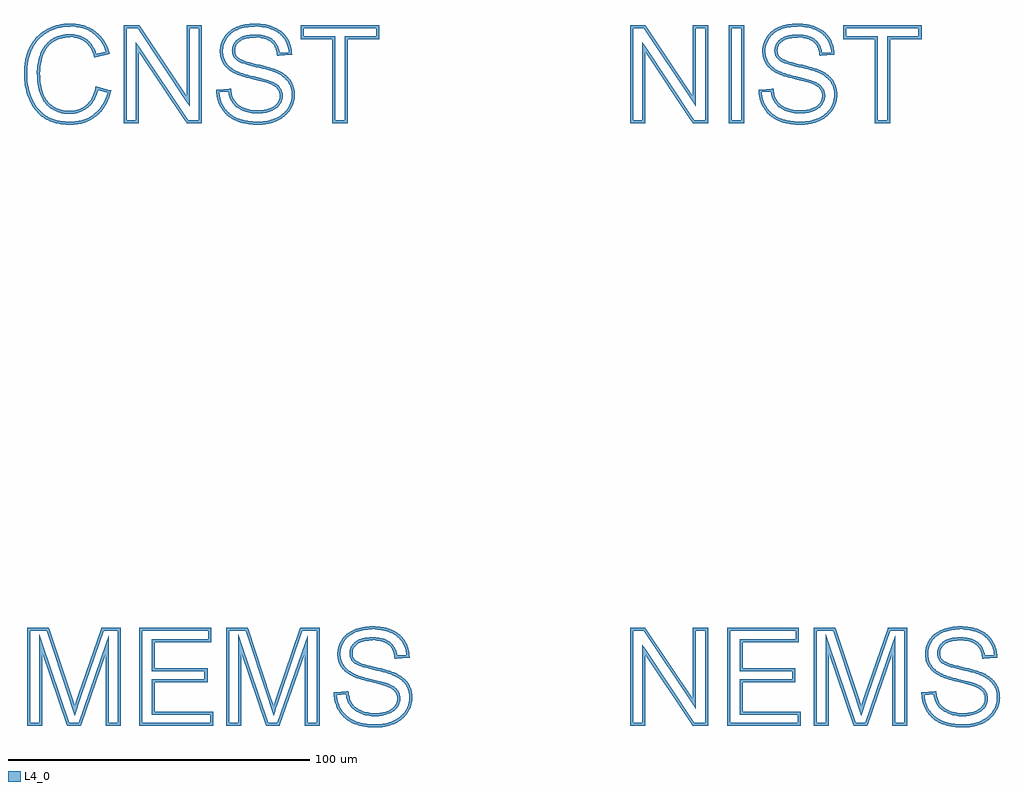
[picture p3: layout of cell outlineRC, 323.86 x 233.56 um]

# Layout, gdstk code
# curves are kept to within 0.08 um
import gdstk
lib = gdstk.Library(unit=1e-6, precision=1e-09)
def P(c, l, *ps):  # polygons
    for p in ps: c.add(gdstk.Polygon(p, *l))
L4_0 = (4, 0)

outlinerc = lib.new_cell('outlineRC')
P(outlinerc, L4_0, [(22,-6.031),(18.912,-5.821),(17.239,-5.493),(15.749,-5.031),(23.732,-4.94),(25.873,-4.536),(28.287,-3.576),(30.391,-2.128),(32.086,-0.296),(33.428,1.955),(34.417,4.625),(31.246,5.436),(30.337,2.853),(29.727,1.749),(28.755,0.473),(27.905,-0.338),(26.903,-1.062),(25.822,-1.636),(24.664,-2.06),(22.559,-2.435),(20.536,-2.414),(18.388,-1.976),(16.364,-1.101),(14.54,0.224),(13.311,1.669),(12.35,3.423),(11.555,5.836),(11.102,8.532),(11,11.799),(11.382,14.931),(12.003,17.215),(12.621,18.678),(13.428,19.985),(14.159,20.864),(15.3,21.899),(16.621,22.757),(17.712,23.251),(19.301,23.71),(21.041,23.94),(22.782,23.942),(24.306,23.733),(25.692,23.316),(27.23,22.5),(28.257,21.652),(29.147,20.607),(30.095,19.003),(30.72,17.482),(33.865,18.223),(32.922,20.458),(32.2,21.642),(31.363,22.708),(30.065,23.947),(28.913,24.765),(27.634,25.441),(25.77,26.09),(23.723,26.45),(22.068,26.531),(20.568,26.467),(18.654,26.18),(16.826,25.663),(15.084,24.917),(13.465,23.95),(12.375,23.086),(11.392,22.103),(10.248,20.605),(9.294,18.893),(8.715,17.486),(8.144,15.474),(7.802,13.307),(7.688,10.984),(7.789,8.813),(8.094,6.714),(8.601,4.688),(9.312,2.734),(10.205,0.952),(10.995,-0.236),(12.209,-1.624),(13.605,-2.786),(14.78,-3.508),(16.085,-4.091),(18.029,-4.65),(19.641,-4.907),(22.005,-5.031),(15.749,-5.031),(13.439,-3.88),(12.249,-3.005),(11.171,-1.995),(10.206,-0.851),(9.353,0.429),(8.613,1.843),(7.812,3.874),(7.353,5.445),(6.927,7.605),(6.688,10.984),(6.96,14.587),(7.778,17.833),(8.391,19.322),(9.14,20.72),(10.007,21.995),(10.991,23.142),(12.091,24.16),(13.307,25.05),(16.017,26.429),(18.939,27.255),(22.063,27.531),(24.409,27.374),(26.566,26.904),(28.532,26.121),(30.307,25.026),(31.859,23.646),(33.155,22.015),(34.196,20.133),(35.127,17.494),(30.055,16.298),(29.002,18.949),(27.833,20.649),(27.151,21.308),(26.142,21.999),(25.302,22.395),(24.068,22.762),(21.974,22.969),(19.914,22.808),(18.089,22.325),(16.197,21.32),(14.659,19.925),(13.505,18.213),(12.724,16.178),(12.12,13.255),(12.002,10.035),(12.269,7.333),(12.984,4.541),(13.934,2.543),(14.534,1.699),(15.469,0.732),(16.555,-0.056),(17.754,-0.674),(19.004,-1.116),(20.304,-1.38),(22.869,-1.402),(24.367,-1.105),(25.736,-0.57),(26.679,-0.014),(27.818,0.938),(28.783,2.129),(29.563,3.559),(30.026,4.789),(30.496,6.66),(35.639,5.345),(34.931,2.965),(33.914,0.71),(32.624,-1.234),(31.064,-2.868),(28.766,-4.454),(26.706,-5.33),(24.45,-5.855)],
  [(40.359,-5.5),(39.859,-5.5),(39.859,27),(44.892,27),(60.672,3.412),(60.672,27),(65.672,27),(65.672,-5.5),(60.623,-5.5),(59.955,-4.5),(64.672,-4.5),(64.672,26),(61.672,26),(61.672,0.117),(44.358,26),(40.859,26),(40.859,-4.5),(43.844,-4.5),(43.844,21.398),(61.158,-4.5),(59.955,-4.5),(44.844,18.103),(44.844,-5.5)],
  [(84.406,-6.031),(80.838,-5.786),(77.757,-5.031),(84.408,-5.031),(86.762,-4.864),(89.271,-4.246),(90.584,-3.692),(91.753,-3.019),(93.002,-2.015),(93.832,-1.082),(94.508,-0.044),(95.118,1.313),(95.415,2.438),(95.547,3.891),(95.428,5.33),(95.159,6.399),(94.469,7.866),(93.413,9.176),(92.234,10.139),(90.461,11.14),(87.824,12.052),(80.237,13.998),(78.61,14.588),(77.472,15.178),(76.617,15.964),(75.97,17.087),(75.709,18.403),(75.825,19.695),(76.184,20.668),(76.782,21.558),(77.617,22.367),(78.68,23.019),(80.004,23.485),(81.169,23.713),(82.951,23.853),(84.8,23.801),(86.036,23.629),(87.486,23.219),(88.426,22.779),(89.466,22.027),(90.263,21.141),(90.745,20.369),(91.232,19.197),(91.543,17.862),(94.58,18.087),(94.121,20.313),(93.437,21.833),(92.393,23.283),(91.247,24.321),(90.162,25.011),(88.925,25.577),(87.198,26.107),(85.701,26.379),(84.104,26.514),(81.763,26.467),(79.644,26.128),(78.318,25.74),(77.086,25.231),(76.006,24.609),(75.075,23.869),(74.293,23.012),(73.66,22.047),(73.089,20.778),(72.811,19.725),(72.688,18.359),(72.943,16.431),(73.712,14.704),(75.021,13.195),(76.369,12.232),(77.349,11.717),(79.217,11.017),(88.526,8.466),(90.334,7.562),(91.313,6.745),(91.793,6.129),(92.289,5.099),(92.516,3.954),(92.516,3.147),(92.392,2.371),(91.977,1.265),(90.995,-0.073),(90.321,-0.64),(89.079,-1.351),(87.611,-1.878),(86.549,-2.111),(83.529,-2.282),(80.943,-1.914),(78.631,-1.059),(77.196,-0.164),(76.423,0.531),(75.797,1.305),(75.15,2.495),(74.475,4.929),(71.505,4.669),(71.901,2.379),(72.626,0.579),(73.748,-1.116),(75.252,-2.566),(77.093,-3.677),(79.314,-4.463),(81.929,-4.914),(84.408,-5.031),(77.757,-5.031),(76.3,-4.402),(74.949,-3.585),(73.761,-2.601),(72.736,-1.451),(71.881,-0.146),(71.226,1.252),(70.776,2.733),(70.531,4.299),(70.472,5.582),(75.346,6.009),(75.579,4.454),(76.005,3.041),(76.625,1.867),(77.163,1.204),(78.222,0.33),(79.583,-0.401),(81.196,-0.947),(82.355,-1.171),(85.326,-1.255),(87.797,-0.779),(89.71,0.151),(90.521,0.881),(91.084,1.716),(91.482,2.913),(91.426,4.484),(90.954,5.585),(90.047,6.541),(89.018,7.164),(87.805,7.663),(79.679,9.829),(76.422,11.058),(74.805,12.082),(73.717,13.066),(72.866,14.171),(72.148,15.638),(71.706,17.787),(71.828,19.905),(72.494,21.964),(73.705,23.875),(75.151,25.228),(76.964,26.278),(79.403,27.098),(81.666,27.462),(84.153,27.513),(87.054,27.163),(89.639,26.367),(91.571,25.319),(93.139,23.95),(94.337,22.273),(95.241,20.072),(95.589,18.005),(95.628,17.162),(90.666,16.794),(90.188,19.165),(89.686,20.209),(89.009,21.079),(88.149,21.78),(87.363,22.193),(86.456,22.507),(85.058,22.771),(82.149,22.815),(79.715,22.362),(78.908,22.019),(78.055,21.431),(77.428,20.77),(76.995,20.049),(76.726,19.062),(76.768,17.933),(77.113,16.999),(77.909,16.089),(79.127,15.444),(80.641,14.913),(88.144,12.999),(90.344,12.274),(91.575,11.702),(93.386,10.53),(94.575,9.4),(95.476,8.129),(96.197,6.432),(96.459,5.201),(96.547,3.891),(96.256,1.622),(95.385,-0.525),(93.953,-2.476),(92.017,-4.038),(89.613,-5.186),(87.323,-5.786)],
  [(109.406,-5.5),(108.906,-5.5),(108.906,-4.5),(113.078,-4.5),(113.078,23.281),(123.5,23.281),(123.5,26),(99.531,26),(99.531,23.281),(109.906,23.281),(109.906,-4.5),(108.906,-4.5),(108.906,22.281),(98.531,22.281),(98.531,26.5),(98.531,27),(124.5,27),(124.5,22.781),(124.5,22.281),(114.078,22.281),(114.078,-5.5)],
  [(208.359,-5.5),(207.859,-5.5),(207.859,27),(212.892,27),(228.672,3.412),(228.672,27),(233.672,27),(233.672,-5.5),(228.623,-5.5),(227.955,-4.5),(232.672,-4.5),(232.672,26),(229.672,26),(229.672,0.117),(212.358,26),(208.859,26),(208.859,-4.5),(211.844,-4.5),(211.844,21.398),(229.158,-4.5),(227.955,-4.5),(212.844,18.103),(212.844,-5.5)],
  [(241.109,-5.5),(240.609,-5.5),(240.609,-4.5),(244.766,-4.5),(244.766,26),(241.609,26),(241.609,-4.5),(240.609,-4.5),(240.609,27),(245.766,27),(245.766,-5),(245.766,-5.5)],
  [(264.406,-6.031),(260.838,-5.786),(257.757,-5.031),(264.408,-5.031),(266.762,-4.864),(269.271,-4.246),(270.584,-3.692),(271.753,-3.019),(273.002,-2.015),(273.832,-1.082),(274.508,-0.044),(275.118,1.313),(275.415,2.438),(275.547,3.891),(275.428,5.33),(275.159,6.399),(274.469,7.866),(273.413,9.176),(272.234,10.139),(270.461,11.14),(267.824,12.052),(260.237,13.998),(258.61,14.588),(257.472,15.178),(256.617,15.964),(255.97,17.087),(255.709,18.403),(255.825,19.695),(256.184,20.668),(256.782,21.558),(257.617,22.367),(258.68,23.019),(260.004,23.485),(261.169,23.713),(262.951,23.853),(264.8,23.801),(266.036,23.629),(267.486,23.219),(268.426,22.779),(269.465,22.027),(270.263,21.141),(270.745,20.369),(271.232,19.197),(271.543,17.862),(274.58,18.087),(274.121,20.313),(273.437,21.833),(272.393,23.283),(271.246,24.321),(270.162,25.011),(268.925,25.577),(267.198,26.107),(265.701,26.379),(264.104,26.514),(261.763,26.467),(259.644,26.128),(258.318,25.74),(257.086,25.231),(256.006,24.609),(255.075,23.869),(254.293,23.012),(253.66,22.047),(253.089,20.778),(252.811,19.725),(252.688,18.359),(252.943,16.431),(253.712,14.704),(255.021,13.195),(256.369,12.232),(257.349,11.717),(259.217,11.017),(268.526,8.466),(270.334,7.562),(271.313,6.745),(271.793,6.129),(272.289,5.099),(272.516,3.954),(272.516,3.147),(272.392,2.371),(271.977,1.265),(270.995,-0.073),(270.321,-0.64),(269.079,-1.351),(267.611,-1.878),(266.549,-2.111),(263.529,-2.282),(260.943,-1.914),(258.631,-1.059),(257.196,-0.164),(256.423,0.531),(255.797,1.305),(255.15,2.495),(254.475,4.929),(251.505,4.669),(251.901,2.379),(252.626,0.579),(253.748,-1.116),(255.252,-2.566),(257.093,-3.677),(259.314,-4.463),(261.929,-4.914),(264.408,-5.031),(257.757,-5.031),(256.3,-4.402),(254.949,-3.585),(253.761,-2.601),(252.736,-1.451),(251.881,-0.146),(251.226,1.252),(250.776,2.733),(250.531,4.299),(250.472,5.582),(255.346,6.009),(255.579,4.454),(256.005,3.041),(256.625,1.867),(257.163,1.204),(258.222,0.33),(259.583,-0.401),(261.196,-0.947),(262.355,-1.171),(265.326,-1.255),(267.797,-0.779),(269.71,0.151),(270.521,0.881),(271.084,1.716),(271.482,2.913),(271.426,4.484),(270.954,5.585),(270.047,6.541),(269.018,7.164),(267.805,7.663),(259.679,9.829),(256.422,11.058),(254.805,12.082),(253.717,13.066),(252.866,14.171),(252.148,15.638),(251.706,17.787),(251.828,19.905),(252.494,21.964),(253.705,23.875),(255.151,25.228),(256.964,26.278),(259.403,27.098),(261.666,27.462),(264.153,27.513),(267.054,27.163),(269.639,26.367),(271.571,25.319),(273.139,23.95),(274.337,22.273),(275.241,20.072),(275.589,18.005),(275.628,17.162),(270.666,16.794),(270.188,19.165),(269.686,20.209),(269.009,21.079),(268.149,21.78),(267.363,22.193),(266.456,22.507),(265.058,22.771),(262.15,22.815),(259.715,22.362),(258.908,22.019),(258.055,21.431),(257.428,20.77),(256.995,20.049),(256.726,19.062),(256.768,17.933),(257.113,16.999),(257.909,16.089),(259.127,15.444),(260.641,14.913),(268.144,12.999),(270.344,12.274),(271.575,11.702),(273.386,10.53),(274.575,9.4),(275.476,8.129),(276.197,6.432),(276.459,5.201),(276.547,3.891),(276.256,1.622),(275.385,-0.525),(273.953,-2.476),(272.017,-4.038),(269.613,-5.186),(267.323,-5.786)],
  [(289.406,-5.5),(288.906,-5.5),(288.906,-4.5),(293.078,-4.5),(293.078,23.281),(303.5,23.281),(303.5,26),(279.531,26),(279.531,23.281),(289.906,23.281),(289.906,-4.5),(288.906,-4.5),(288.906,22.281),(278.531,22.281),(278.531,26.5),(278.531,27),(304.5,27),(304.5,22.781),(304.5,22.281),(294.078,22.281),(294.078,-5.5)],
  [(8.266,-205.5),(7.766,-205.5),(7.766,-173),(14.907,-173),(23.505,-198.808),(32.362,-173),(38.828,-173),(38.828,-205.5),(33.813,-205.5),(33.813,-204.5),(37.828,-204.5),(37.828,-174),(33.075,-174),(25.645,-195.585),(23.495,-202.174),(21.525,-195.954),(14.187,-174),(8.766,-174),(8.766,-204.5),(11.781,-204.5),(11.781,-175.169),(21.749,-204.5),(24.801,-204.5),(34.813,-175.678),(34.813,-204.5),(33.813,-204.5),(33.813,-181.604),(25.512,-205.5),(21.033,-205.5),(12.781,-181.214),(12.781,-205.5)],
  [(45.484,-205.5),(44.984,-205.5),(44.984,-204.5),(68.484,-204.5),(68.484,-201.781),(49.156,-201.781),(49.156,-190.562),(49.156,-190.062),(66.578,-190.062),(66.578,-187.359),(49.156,-187.359),(49.156,-177.219),(49.156,-176.719),(67.75,-176.719),(67.75,-174),(45.984,-174),(45.984,-204.5),(44.984,-204.5),(44.984,-173),(68.75,-173),(68.75,-177.219),(68.75,-177.719),(50.156,-177.719),(50.156,-186.359),(67.578,-186.359),(67.578,-190.562),(67.578,-191.062),(50.156,-191.062),(50.156,-200.781),(69.484,-200.781),(69.484,-205),(69.484,-205.5)],
  [(74.266,-205.5),(73.766,-205.5),(73.766,-173),(80.907,-173),(89.505,-198.808),(98.362,-173),(104.828,-173),(104.828,-205.5),(99.813,-205.5),(99.813,-204.5),(103.828,-204.5),(103.828,-174),(99.075,-174),(91.645,-195.585),(89.495,-202.174),(87.525,-195.954),(80.187,-174),(74.766,-174),(74.766,-204.5),(77.781,-204.5),(77.781,-175.169),(87.749,-204.5),(90.801,-204.5),(100.813,-175.678),(100.813,-204.5),(99.813,-204.5),(99.813,-181.604),(91.512,-205.5),(87.033,-205.5),(78.781,-181.214),(78.781,-205.5)],
  [(123.406,-206.031),(119.838,-205.786),(116.757,-205.031),(123.408,-205.031),(125.762,-204.864),(128.271,-204.246),(129.584,-203.692),(130.753,-203.019),(132.002,-202.015),(132.832,-201.082),(133.508,-200.044),(134.118,-198.687),(134.415,-197.562),(134.547,-196.109),(134.428,-194.67),(134.159,-193.601),(133.469,-192.134),(132.413,-190.824),(131.234,-189.861),(129.461,-188.86),(126.824,-187.948),(119.237,-186.002),(117.61,-185.412),(116.472,-184.822),(115.617,-184.036),(114.97,-182.913),(114.709,-181.597),(114.825,-180.305),(115.184,-179.332),(115.782,-178.442),(116.617,-177.633),(117.68,-176.981),(119.004,-176.515),(120.169,-176.287),(121.951,-176.147),(123.8,-176.199),(125.036,-176.371),(126.486,-176.781),(127.426,-177.221),(128.466,-177.973),(129.263,-178.859),(129.745,-179.631),(130.232,-180.803),(130.543,-182.138),(133.58,-181.913),(133.121,-179.687),(132.437,-178.167),(131.393,-176.717),(130.246,-175.679),(129.162,-174.989),(127.925,-174.423),(126.198,-173.893),(124.701,-173.621),(123.104,-173.486),(120.763,-173.533),(118.644,-173.872),(117.318,-174.26),(116.086,-174.769),(115.006,-175.391),(114.075,-176.131),(113.293,-176.988),(112.66,-177.953),(112.089,-179.222),(111.811,-180.275),(111.688,-181.641),(111.943,-183.569),(112.712,-185.296),(114.021,-186.805),(115.369,-187.768),(116.349,-188.283),(118.217,-188.983),(127.526,-191.534),(129.334,-192.438),(130.313,-193.255),(130.793,-193.871),(131.289,-194.901),(131.516,-196.046),(131.516,-196.853),(131.392,-197.629),(130.977,-198.735),(129.995,-200.073),(129.321,-200.64),(128.079,-201.351),(126.611,-201.878),(125.549,-202.111),(122.529,-202.282),(119.943,-201.914),(117.631,-201.059),(116.196,-200.164),(115.423,-199.469),(114.797,-198.695),(114.15,-197.505),(113.475,-195.071),(110.505,-195.331),(110.901,-197.621),(111.626,-199.421),(112.748,-201.116),(114.252,-202.566),(116.093,-203.677),(118.314,-204.463),(120.929,-204.914),(123.408,-205.031),(116.757,-205.031),(115.3,-204.402),(113.949,-203.585),(112.761,-202.601),(111.736,-201.451),(110.881,-200.146),(110.226,-198.748),(109.776,-197.267),(109.531,-195.701),(109.472,-194.418),(114.346,-193.991),(114.579,-195.546),(115.005,-196.959),(115.625,-198.133),(116.163,-198.796),(117.222,-199.67),(118.583,-200.401),(120.196,-200.947),(121.355,-201.171),(124.326,-201.255),(126.797,-200.779),(128.71,-199.849),(129.521,-199.119),(130.084,-198.284),(130.482,-197.087),(130.426,-195.516),(129.954,-194.415),(129.047,-193.459),(128.018,-192.836),(126.805,-192.337),(118.679,-190.171),(115.422,-188.942),(113.805,-187.918),(112.717,-186.934),(111.866,-185.829),(111.148,-184.362),(110.706,-182.213),(110.828,-180.095),(111.494,-178.036),(112.705,-176.125),(114.151,-174.772),(115.964,-173.722),(118.403,-172.902),(120.666,-172.538),(123.153,-172.487),(126.054,-172.837),(128.639,-173.633),(130.571,-174.681),(132.139,-176.05),(133.337,-177.727),(134.241,-179.928),(134.589,-181.995),(134.628,-182.838),(129.666,-183.206),(129.188,-180.835),(128.686,-179.791),(128.009,-178.921),(127.149,-178.22),(126.363,-177.807),(125.456,-177.493),(124.058,-177.229),(121.149,-177.185),(118.715,-177.638),(117.908,-177.981),(117.055,-178.569),(116.428,-179.23),(115.995,-179.951),(115.726,-180.938),(115.768,-182.067),(116.113,-183.001),(116.909,-183.911),(118.127,-184.556),(119.641,-185.087),(127.144,-187.001),(129.344,-187.727),(130.575,-188.298),(132.386,-189.47),(133.575,-190.6),(134.476,-191.871),(135.197,-193.568),(135.459,-194.799),(135.547,-196.109),(135.256,-198.378),(134.385,-200.525),(132.953,-202.476),(131.017,-204.038),(128.613,-205.186),(126.323,-205.786)],
  [(208.359,-205.5),(207.859,-205.5),(207.859,-173),(212.892,-173),(228.672,-196.588),(228.672,-173),(233.672,-173),(233.672,-205.5),(228.623,-205.5),(227.955,-204.5),(232.672,-204.5),(232.672,-174),(229.672,-174),(229.672,-199.883),(212.358,-174),(208.859,-174),(208.859,-204.5),(211.844,-204.5),(211.844,-178.602),(229.158,-204.5),(227.955,-204.5),(212.844,-181.897),(212.844,-205.5)],
  [(240.484,-205.5),(239.984,-205.5),(239.984,-204.5),(263.484,-204.5),(263.484,-201.781),(244.156,-201.781),(244.156,-190.562),(244.156,-190.062),(261.578,-190.062),(261.578,-187.359),(244.156,-187.359),(244.156,-177.219),(244.156,-176.719),(262.75,-176.719),(262.75,-174),(240.984,-174),(240.984,-204.5),(239.984,-204.5),(239.984,-173),(263.75,-173),(263.75,-177.219),(263.75,-177.719),(245.156,-177.719),(245.156,-186.359),(262.578,-186.359),(262.578,-190.562),(262.578,-191.062),(245.156,-191.062),(245.156,-200.781),(264.484,-200.781),(264.484,-205),(264.484,-205.5)],
  [(269.266,-205.5),(268.766,-205.5),(268.766,-173),(275.907,-173),(284.505,-198.808),(293.362,-173),(299.828,-173),(299.828,-205.5),(294.813,-205.5),(294.813,-204.5),(298.828,-204.5),(298.828,-174),(294.075,-174),(286.645,-195.585),(284.495,-202.174),(282.525,-195.954),(275.187,-174),(269.766,-174),(269.766,-204.5),(272.781,-204.5),(272.781,-175.169),(282.749,-204.5),(285.801,-204.5),(295.813,-175.678),(295.813,-204.5),(294.813,-204.5),(294.813,-181.604),(286.512,-205.5),(282.033,-205.5),(273.781,-181.214),(273.781,-205.5)],
  [(318.406,-206.031),(314.838,-205.786),(311.757,-205.031),(318.408,-205.031),(320.762,-204.864),(323.271,-204.246),(324.584,-203.692),(325.753,-203.019),(327.002,-202.015),(327.832,-201.082),(328.508,-200.044),(329.118,-198.687),(329.415,-197.562),(329.547,-196.109),(329.428,-194.67),(329.159,-193.601),(328.469,-192.134),(327.413,-190.824),(326.234,-189.861),(324.461,-188.86),(321.824,-187.948),(314.237,-186.002),(312.61,-185.412),(311.472,-184.822),(310.617,-184.036),(309.97,-182.913),(309.709,-181.597),(309.825,-180.305),(310.184,-179.332),(310.782,-178.442),(311.617,-177.633),(312.68,-176.981),(314.004,-176.515),(315.169,-176.287),(316.951,-176.147),(318.8,-176.199),(320.036,-176.371),(321.486,-176.781),(322.426,-177.221),(323.465,-177.973),(324.263,-178.859),(324.745,-179.631),(325.232,-180.803),(325.543,-182.138),(328.58,-181.913),(328.121,-179.687),(327.437,-178.167),(326.393,-176.717),(325.246,-175.679),(324.162,-174.989),(322.925,-174.423),(321.198,-173.893),(319.701,-173.621),(318.104,-173.486),(315.763,-173.533),(313.644,-173.872),(312.318,-174.26),(311.086,-174.769),(310.006,-175.391),(309.075,-176.131),(308.293,-176.988),(307.66,-177.953),(307.089,-179.222),(306.811,-180.275),(306.688,-181.641),(306.943,-183.569),(307.712,-185.296),(309.021,-186.805),(310.369,-187.768),(311.349,-188.283),(313.217,-188.983),(322.526,-191.534),(324.334,-192.438),(325.313,-193.255),(325.793,-193.871),(326.289,-194.901),(326.516,-196.046),(326.516,-196.853),(326.392,-197.629),(325.977,-198.735),(324.995,-200.073),(324.321,-200.64),(323.079,-201.351),(321.611,-201.878),(320.549,-202.111),(317.529,-202.282),(314.943,-201.914),(312.631,-201.059),(311.196,-200.164),(310.423,-199.469),(309.797,-198.695),(309.15,-197.505),(308.475,-195.071),(305.505,-195.331),(305.901,-197.621),(306.626,-199.421),(307.748,-201.116),(309.252,-202.566),(311.093,-203.677),(313.314,-204.463),(315.929,-204.914),(318.408,-205.031),(311.757,-205.031),(310.3,-204.402),(308.949,-203.585),(307.761,-202.601),(306.736,-201.451),(305.881,-200.146),(305.226,-198.748),(304.776,-197.267),(304.531,-195.701),(304.472,-194.418),(309.346,-193.991),(309.579,-195.546),(310.005,-196.959),(310.625,-198.133),(311.163,-198.796),(312.222,-199.67),(313.583,-200.401),(315.196,-200.947),(316.355,-201.171),(319.326,-201.255),(321.797,-200.779),(323.71,-199.849),(324.521,-199.119),(325.084,-198.284),(325.482,-197.087),(325.426,-195.516),(324.954,-194.415),(324.047,-193.459),(323.018,-192.836),(321.805,-192.337),(313.679,-190.171),(310.422,-188.942),(308.805,-187.918),(307.717,-186.934),(306.866,-185.829),(306.148,-184.362),(305.706,-182.213),(305.828,-180.095),(306.494,-178.036),(307.705,-176.125),(309.151,-174.772),(310.964,-173.722),(313.403,-172.902),(315.666,-172.538),(318.153,-172.487),(321.054,-172.837),(323.639,-173.633),(325.571,-174.681),(327.139,-176.05),(328.337,-177.727),(329.241,-179.928),(329.589,-181.995),(329.628,-182.838),(324.666,-183.206),(324.188,-180.835),(323.686,-179.791),(323.009,-178.921),(322.149,-178.22),(321.363,-177.807),(320.456,-177.493),(319.058,-177.229),(316.15,-177.185),(313.715,-177.638),(312.908,-177.981),(312.055,-178.569),(311.428,-179.23),(310.995,-179.951),(310.726,-180.938),(310.768,-182.067),(311.113,-183.001),(311.909,-183.911),(313.127,-184.556),(314.641,-185.087),(322.144,-187.001),(324.344,-187.727),(325.575,-188.298),(327.386,-189.47),(328.575,-190.6),(329.476,-191.871),(330.197,-193.568),(330.459,-194.799),(330.547,-196.109),(330.256,-198.378),(329.385,-200.525),(327.953,-202.476),(326.017,-204.038),(323.613,-205.186),(321.323,-205.786)])

lib.write_gds('outlineRC.gds')
